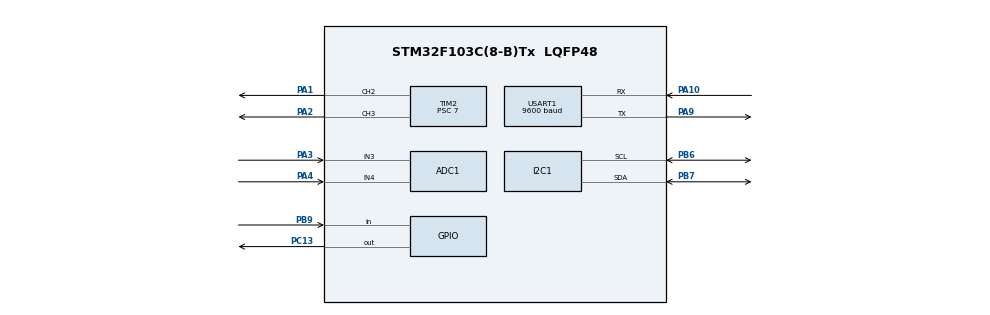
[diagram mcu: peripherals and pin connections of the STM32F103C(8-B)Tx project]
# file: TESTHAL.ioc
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ADC1.Channel-0\#ChannelRegularConversion=ADC_CHANNEL_3
ADC1.Channel-1\#ChannelRegularConversion=ADC_CHANNEL_4
ADC1.NbrOfConversion=2
ADC1.NbrOfConversionFlag=1
ADC1.Rank-0\#ChannelRegularConversion=1
ADC1.Rank-1\#ChannelRegularConversion=2
ADC1.SamplingTime-0\#ChannelRegularConversion=ADC_SAMPLETIME_1CYCLE_5
ADC1.SamplingTime-1\#ChannelRegularConversion=ADC_SAMPLETIME_1CYCLE_5
ADC1.master=1
Dma.ADC1.0.Direction=DMA_PERIPH_TO_MEMORY
Dma.ADC1.0.Instance=DMA1_Channel1
Dma.ADC1.0.MemDataAlignment=DMA_MDATAALIGN_HALFWORD
Dma.ADC1.0.MemInc=DMA_MINC_ENABLE
Dma.ADC1.0.Mode=DMA_CIRCULAR
Dma.ADC1.0.PeriphDataAlignment=DMA_PDATAALIGN_HALFWORD
Dma.ADC1.0.PeriphInc=DMA_PINC_DISABLE
Dma.ADC1.0.Priority=DMA_PRIORITY_LOW
Dma.Request0=ADC1
FREERTOS.Tasks01=defaultTask,0,128,StartDefaultTask,Default,NULL,Dynamic,NULL,NULL
Mcu.Family=STM32F1
Mcu.Name=STM32F103C(8-B)Tx
Mcu.Package=LQFP48
NVIC.DMA1_Channel1_IRQn=true\:0\:0\:false\:false\:true\:false\:false\:true
NVIC.PriorityGroup=NVIC_PRIORITYGROUP_4
NVIC.TIM4_IRQn=true\:0\:0\:false\:false\:true\:false\:false\:true
NVIC.TimeBase=TIM4_IRQn
NVIC.TimeBaseIP=TIM4
PA1.Signal=S_TIM2_CH2
PA10.Mode=Asynchronous
PA10.Signal=USART1_RX
PA13.Mode=Serial_Wire
PA13.Signal=SYS_JTMS-SWDIO
PA14.Mode=Serial_Wire
PA14.Signal=SYS_JTCK-SWCLK
PA2.Signal=S_TIM2_CH3
PA3.Signal=ADCx_IN3
PA4.Signal=ADCx_IN4
PA9.Mode=Asynchronous
PA9.Signal=USART1_TX
PB6.Mode=I2C
PB6.Signal=I2C1_SCL
PB7.Mode=I2C
PB7.Signal=I2C1_SDA
PB9.GPIO_PuPd=GPIO_PULLUP
PB9.Signal=GPIO_Input
PC13-TAMPER-RTC.Signal=GPIO_Output
ProjectManager.HeapSize=0x200
ProjectManager.StackSize=0x400
ProjectManager.TargetToolchain=MDK-ARM V5.27
RCC.APB1Freq_Value=8000000
RCC.APB2Freq_Value=8000000
SH.ADCx_IN3.0=ADC1_IN3,IN3
SH.ADCx_IN4.0=ADC1_IN4,IN4
SH.S_TIM2_CH2.0=TIM2_CH2,PWM Generation2 CH2
SH.S_TIM2_CH3.0=TIM2_CH3,PWM Generation3 CH3
TIM2.Channel-PWM\ Generation2\ CH2=TIM_CHANNEL_2
TIM2.Channel-PWM\ Generation3\ CH3=TIM_CHANNEL_3
TIM2.Period=999
TIM2.Prescaler=7
USART1.BaudRate=9600
USART1.VirtualMode=VM_ASYNC
VP_FREERTOS_VS_CMSIS_V1.Mode=CMSIS_V1
VP_SYS_VS_tim4.Mode=TIM4
VP_TIM2_VS_ClockSourceINT.Mode=Internal
board=custom

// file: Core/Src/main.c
/* USER CODE BEGIN Header */
/**
  ****************************************************************************
  * @file           : main.c
  * @brief          : Main program body
  ****************************************************************************
  * @attention
  *
  * <h2><center>&copy; Copyright (c) 2023 STMicroelectronics.
  * All rights reserved.</center></h2>
  *
  * This software component is licensed by ST under BSD 3-Clause license,
  * the "License"; You may not use this file except in compliance with the
  * License. You may obtain a copy of the License at:
  *                        opensource.org/licenses/BSD-3-Clause
  *
  ****************************************************************************
  */
/* USER CODE END Header */
#include "main.h"
#include "cmsis_os.h"
#include "Timer.h"
#include "dht.h"
#include "LiquidCrystal_I2C.h"

ADC_HandleTypeDef hadc1;
DMA_HandleTypeDef hdma_adc1;

I2C_HandleTypeDef hi2c1;

TIM_HandleTypeDef htim2;

UART_HandleTypeDef huart1;

TaskHandle_t LCD_I2C_Handle;
TaskHandle_t DHT_UART_Handle;
TaskHandle_t ADC_Handle;
TaskHandle_t PWM_Handle;

QueueHandle_t Queuex;
QueueHandle_t Queuey;

/* USER CODE BEGIN PV */
uint8_t sta = 0;
uint16_t adc_send[2];
uint16_t adc_receive[2];
char str[50] ;
char str2 = NULL;
float temp;
float humi;
float DHT_data[2];
float UART_data[2];

/* USER CODE END PV */

void SystemClock_Config(void);
static void MX_GPIO_Init(void);
static void MX_DMA_Init(void);
static void MX_ADC1_Init(void);
static void MX_TIM2_Init(void);
static void MX_USART1_UART_Init(void);
static void MX_I2C1_Init(void);
void LCD_I2C_Task(void *para);
void DHT_UART_Task(void *para);
void ADC_Task(void *para);
void PWM_Task(void *para);

/* USER CODE BEGIN 0 */
LiquidCrystal_I2C hlcd;
DHT dht;
/* USER CODE END 0 */

int main(void)
{

  /* MCU Configuration--------------------------------------------------------*/

  /* Reset of all peripherals, Initializes the Flash interface and the Systick. */
  HAL_Init();

  /* Configure the system clock */
  SystemClock_Config();

  /* Initialize all configured peripherals */
  MX_GPIO_Init();
  MX_DMA_Init();
  MX_ADC1_Init();
  MX_TIM2_Init();
  MX_USART1_UART_Init();
  MX_I2C1_Init();
  /* USER CODE BEGIN 2 */
	HAL_TIM_PWM_Start(&htim2,TIM_CHANNEL_3);
  HAL_TIM_PWM_Start(&htim2,TIM_CHANNEL_2);
	TIM1_Configure(7,0xFFFF);
	lcd_init(&hlcd, &hi2c1, LCD_ADDR_DEFAULT);
  /* USER CODE END 2 */

  /* Create the thread(s) */
  /* definition and creation of defaultTask */
  xTaskCreate(LCD_I2C_Task, "Task LCD_I2C", 128, NULL, 1, &LCD_I2C_Handle);
	xTaskCreate(DHT_UART_Task, "Task DHT", 128, NULL, 2, &DHT_UART_Handle);
	xTaskCreate(ADC_Task, "Task_ADC", 128, NULL, 4, &ADC_Handle);
	xTaskCreate(PWM_Task, "Task_PWM", 128, NULL, 3, &PWM_Handle);
	Queuex = xQueueCreate(2,4);
	Queuey = xQueueCreate(2,2);

  DHT_Init(&dht,GPIOA,8);

  /* Start scheduler */
  osKernelStart();

  /* We should never get here as control is now taken by the scheduler */
  /* Infinite loop */
  while (1)
  {

  }
}

void SystemClock_Config(void)
{
  RCC_OscInitTypeDef RCC_OscInitStruct = {0};
  RCC_ClkInitTypeDef RCC_ClkInitStruct = {0};
  RCC_PeriphCLKInitTypeDef PeriphClkInit = {0};

  /** Initializes the RCC Oscillators according to the specified parameters
  * in the RCC_OscInitTypeDef structure.
  */
  RCC_OscInitStruct.OscillatorType = RCC_OSCILLATORTYPE_HSI;
  RCC_OscInitStruct.HSIState = RCC_HSI_ON;
  RCC_OscInitStruct.HSICalibrationValue = RCC_HSICALIBRATION_DEFAULT;
  RCC_OscInitStruct.PLL.PLLState = RCC_PLL_NONE;
  if (HAL_RCC_OscConfig(&RCC_OscInitStruct) != HAL_OK)
  {
    Error_Handler();
  }
  /** Initializes the CPU, AHB and APB buses clocks
  */
  RCC_ClkInitStruct.ClockType = RCC_CLOCKTYPE_HCLK|RCC_CLOCKTYPE_SYSCLK
                              |RCC_CLOCKTYPE_PCLK1|RCC_CLOCKTYPE_PCLK2;
  RCC_ClkInitStruct.SYSCLKSource = RCC_SYSCLKSOURCE_HSI;
  RCC_ClkInitStruct.AHBCLKDivider = RCC_SYSCLK_DIV1;
  RCC_ClkInitStruct.APB1CLKDivider = RCC_HCLK_DIV1;
  RCC_ClkInitStruct.APB2CLKDivider = RCC_HCLK_DIV1;

  if (HAL_RCC_ClockConfig(&RCC_ClkInitStruct, FLASH_LATENCY_0) != HAL_OK)
  {
    Error_Handler();
  }
  PeriphClkInit.PeriphClockSelection = RCC_PERIPHCLK_ADC;
  PeriphClkInit.AdcClockSelection = RCC_ADCPCLK2_DIV2;
  if (HAL_RCCEx_PeriphCLKConfig(&PeriphClkInit) != HAL_OK)
  {
    Error_Handler();
  }
}

static void MX_ADC1_Init(void)
{

  ADC_ChannelConfTypeDef sConfig = {0};

  /** Common config
  */
  hadc1.Instance = ADC1;
  hadc1.Init.ScanConvMode = ADC_SCAN_ENABLE;
  hadc1.Init.ContinuousConvMode = DISABLE;
  hadc1.Init.DiscontinuousConvMode = DISABLE;
  hadc1.Init.ExternalTrigConv = ADC_SOFTWARE_START;
  hadc1.Init.DataAlign = ADC_DATAALIGN_RIGHT;
  hadc1.Init.NbrOfConversion = 2;
  if (HAL_ADC_Init(&hadc1) != HAL_OK)
  {
    Error_Handler();
  }
  /** Configure Regular Channel
  */
  sConfig.Channel = ADC_CHANNEL_3;
  sConfig.Rank = ADC_REGULAR_RANK_1;
  sConfig.SamplingTime = ADC_SAMPLETIME_1CYCLE_5;
  if (HAL_ADC_ConfigChannel(&hadc1, &sConfig) != HAL_OK)
  {
    Error_Handler();
  }
  /** Configure Regular Channel
  */
  sConfig.Channel = ADC_CHANNEL_4;
  sConfig.Rank = ADC_REGULAR_RANK_2;
  if (HAL_ADC_ConfigChannel(&hadc1, &sConfig) != HAL_OK)
  {
    Error_Handler();
  }

}

static void MX_I2C1_Init(void)
{

  hi2c1.Instance = I2C1;
  hi2c1.Init.ClockSpeed = 100000;
  hi2c1.Init.DutyCycle = I2C_DUTYCYCLE_2;
  hi2c1.Init.OwnAddress1 = 0;
  hi2c1.Init.AddressingMode = I2C_ADDRESSINGMODE_7BIT;
  hi2c1.Init.DualAddressMode = I2C_DUALADDRESS_DISABLE;
  hi2c1.Init.OwnAddress2 = 0;
  hi2c1.Init.GeneralCallMode = I2C_GENERALCALL_DISABLE;
  hi2c1.Init.NoStretchMode = I2C_NOSTRETCH_DISABLE;
  if (HAL_I2C_Init(&hi2c1) != HAL_OK)
  {
    Error_Handler();
  }

}

static void MX_TIM2_Init(void)
{

  TIM_ClockConfigTypeDef sClockSourceConfig = {0};
  TIM_MasterConfigTypeDef sMasterConfig = {0};
  TIM_OC_InitTypeDef sConfigOC = {0};

  htim2.Instance = TIM2;
  htim2.Init.Prescaler = 7;
  htim2.Init.CounterMode = TIM_COUNTERMODE_UP;
  htim2.Init.Period = 999;
  htim2.Init.ClockDivision = TIM_CLOCKDIVISION_DIV1;
  htim2.Init.AutoReloadPreload = TIM_AUTORELOAD_PRELOAD_DISABLE;
  if (HAL_TIM_Base_Init(&htim2) != HAL_OK)
  {
    Error_Handler();
  }
  sClockSourceConfig.ClockSource = TIM_CLOCKSOURCE_INTERNAL;
  if (HAL_TIM_ConfigClockSource(&htim2, &sClockSourceConfig) != HAL_OK)
  {
    Error_Handler();
  }
  if (HAL_TIM_PWM_Init(&htim2) != HAL_OK)
  {
    Error_Handler();
  }
  sMasterConfig.MasterOutputTrigger = TIM_TRGO_RESET;
  sMasterConfig.MasterSlaveMode = TIM_MASTERSLAVEMODE_DISABLE;
  if (HAL_TIMEx_MasterConfigSynchronization(&htim2, &sMasterConfig) != HAL_OK)
  {
    Error_Handler();
  }
  sConfigOC.OCMode = TIM_OCMODE_PWM1;
  sConfigOC.Pulse = 0;
  sConfigOC.OCPolarity = TIM_OCPOLARITY_HIGH;
  sConfigOC.OCFastMode = TIM_OCFAST_DISABLE;
  if (HAL_TIM_PWM_ConfigChannel(&htim2, &sConfigOC, TIM_CHANNEL_2) != HAL_OK)
  {
    Error_Handler();
  }
  if (HAL_TIM_PWM_ConfigChannel(&htim2, &sConfigOC, TIM_CHANNEL_3) != HAL_OK)
  {
    Error_Handler();
  }
  HAL_TIM_MspPostInit(&htim2);

}

static void MX_USART1_UART_Init(void)
{

  huart1.Instance = USART1;
  huart1.Init.BaudRate = 9600;
  huart1.Init.WordLength = UART_WORDLENGTH_8B;
  huart1.Init.StopBits = UART_STOPBITS_1;
  huart1.Init.Parity = UART_PARITY_NONE;
  huart1.Init.Mode = UART_MODE_TX_RX;
  huart1.Init.HwFlowCtl = UART_HWCONTROL_NONE;
  huart1.Init.OverSampling = UART_OVERSAMPLING_16;
  if (HAL_UART_Init(&huart1) != HAL_OK)
  {
    Error_Handler();
  }

}

static void MX_DMA_Init(void)
{

  /* DMA controller clock enable */
  __HAL_RCC_DMA1_CLK_ENABLE();

  /* DMA interrupt init */
  /* DMA1_Channel1_IRQn interrupt configuration */
  HAL_NVIC_SetPriority(DMA1_Channel1_IRQn, 0, 0);
  HAL_NVIC_EnableIRQ(DMA1_Channel1_IRQn);

}

static void MX_GPIO_Init(void)
{
  GPIO_InitTypeDef GPIO_InitStruct = {0};

  /* GPIO Ports Clock Enable */
  __HAL_RCC_GPIOC_CLK_ENABLE();
  __HAL_RCC_GPIOA_CLK_ENABLE();
  __HAL_RCC_GPIOB_CLK_ENABLE();

  /*Configure GPIO pin Output Level */
  HAL_GPIO_WritePin(GPIOC, GPIO_PIN_13, GPIO_PIN_RESET);

  /*Configure GPIO pin : PC13 */
  GPIO_InitStruct.Pin = GPIO_PIN_13;
  GPIO_InitStruct.Mode = GPIO_MODE_OUTPUT_PP;
  GPIO_InitStruct.Pull = GPIO_NOPULL;
  GPIO_InitStruct.Speed = GPIO_SPEED_FREQ_LOW;
  HAL_GPIO_Init(GPIOC, &GPIO_InitStruct);

  /*Configure GPIO pin : PB9 */
  GPIO_InitStruct.Pin = GPIO_PIN_9;
  GPIO_InitStruct.Mode = GPIO_MODE_INPUT;
  GPIO_InitStruct.Pull = GPIO_PULLUP;
  HAL_GPIO_Init(GPIOB, &GPIO_InitStruct);

}

void ADC_Task(void *para)
{
	while(1)
	{
		HAL_ADC_Start_DMA(&hadc1,(uint32_t *)adc_send,2);
		xQueueSend(Queuey, &adc_send[0], NULL);//gt bien tro
		xQueueSend(Queuey, &adc_send[1], NULL);// gt quang tro
		vTaskDelay(100);

	}
}

void PWM_Task(void *para)
{
	while(1)
	{
		xQueueReceive(Queuey,&adc_receive[0],osWaitForever);
		xQueueReceive(Queuey,&adc_receive[1],osWaitForever);
		uint16_t duty0 = adc_receive[0]*999/4095;
		__HAL_TIM_SetCompare (&htim2,TIM_CHANNEL_2,duty0);//set do sang cho den
			uint16_t duty1 = adc_receive[1]*999/4095;
		__HAL_TIM_SetCompare (&htim2,TIM_CHANNEL_3,duty1);//set toc do cho dong co
		vTaskDelay(100);
	}

}

void DHT_UART_Task(void *para)
{
	while(1){
		DHT22_readData(&dht);
		temp = dht.temperature;
		humi = dht.humility;
		xQueueSend(Queuex, &temp, NULL);
		xQueueSend(Queuex, &humi, NULL);
		//h = (int)humi;
		//t = (int)temp;
	  int len = sprintf(str,"Temperature: %.2f\nHuminity: %.2f\n",temp,humi);
		if (HAL_GPIO_ReadPin(GPIOB, GPIO_PIN_9)==0)
		{
			while(HAL_GPIO_ReadPin(GPIOB, GPIO_PIN_9)==0);
			 if (sta == 0)
			 {
				 sta = 1;
			 }
			 else if (sta == 1)
			 {
				 sta = 0;
			 }
		}

		if (sta == 1){
		HAL_UART_Transmit(&huart1,(uint8_t *)str,sizeof(str), 100);
		}
		else if (sta == 0)
		{
			HAL_UART_Transmit(&huart1,(uint8_t *)str2,sizeof(str2), 100);
		}
	//	xQueueSend(Queuez, &temp, NULL);
		//xQueueSend(Queuez, &humi, NULL);
		vTaskDelay(500);

	}

}

void LCD_I2C_Task(void *para)
{

  while(1)
		{

		xQueueReceive(Queuex,&DHT_data[0],osWaitForever);
		xQueueReceive(Queuex,&DHT_data[1],osWaitForever);
		lcd_set_cursor(&hlcd, 0,0);
		lcd_printf(&hlcd, "temp : %4f ",DHT_data[0]);
		lcd_set_cursor(&hlcd, 1,0);
		lcd_printf(&hlcd, "humi : %4f ",DHT_data[1]);
		vTaskDelay(500);
  }

}

void HAL_TIM_PeriodElapsedCallback(TIM_HandleTypeDef *htim)
{
  if (htim->Instance == TIM4) {
    HAL_IncTick();
  }
}

void Error_Handler(void)
{
}

/************************ (C) COPYRIGHT STMicroelectronics *****END OF FILE****/
